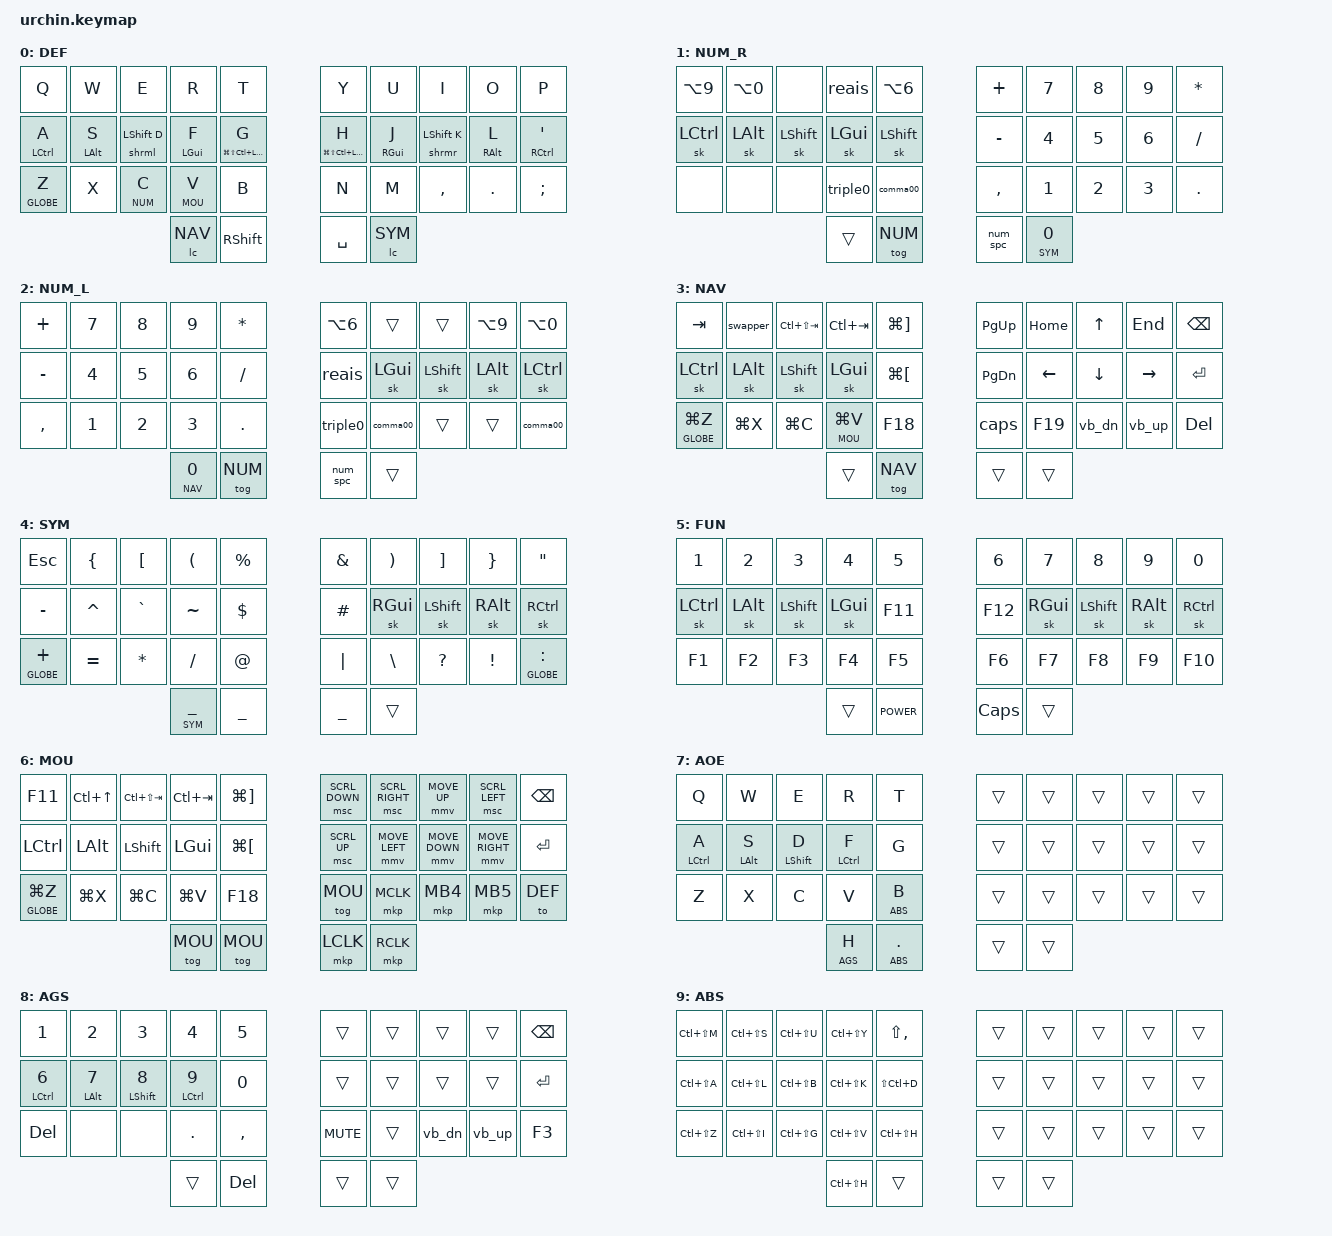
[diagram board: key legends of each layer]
#include <behaviors.dtsi>
#include <dt-bindings/zmk/bt.h>
#include <dt-bindings/zmk/keys.h>
#include <dt-bindings/zmk/outputs.h>

// Layer and key defines to improve readability on the keymap
#define DEF  0
#define NUM  1
#define NUM_L 2 // experimenting with numpad on left hand for mouse usage on the right
#define NAV  3
#define SYM  4
#define FUN  5
#define MOU  6 // also great for one-handed use with a mouse on the right hand

// AOE layers
#define AOE 7 // AOE 2 layers with easier access for default shortcuts on main layer
#define AGS 8
#define ABS 9

#define HYPR LG(LS(LC(LALT))) // shorthand for HYPER key hold-tap on G and H keys

// These includes allow for easier maintenance and readability between different keymaps
#include "features/sweep_keypos.h"                  // Key positions naming scheme for 34 keys keymaps (useful to make combos and behaviors code interoperable between different keyboards)

// Features and customizations (all these .dtsi files are shared with Totem repo)
#include "features/timings.h"                       // Timing definitions for hold-taps and combos
#include "features/core_behaviors_overrides.dtsi"   // Overriding defaults from core behaviors
#include "features/mouse.dtsi"                      // Requires layer defines above since it uses NAV as input processor
#include "features/num_word.dtsi"                   // Custom behaviors like swapper and desktop quit

/ {
    combos { 
        #include "features/combos.dtsi"             // Using a separate file for repurposing it to other keyboards
    };
    
    behaviors { 
        #include "features/custom_behaviors.dtsi"   // Custom behaviors for hold-taps, swapper and other gimmickry
    };

    macros { 
        #include "features/layer_cancel_macros.dtsi" // Inserts a K_CANCEL tap to disengage queued mods from layers 
        #include "features/typing_macros.dtsi"       // Typing macros for common words and phrases
    };

    conditional_layers {
        compatible = "zmk,conditional-layers";
        
        tri_layer_for_function_and_number_row_keys {  // Tri-layer allows to make these keys unsensible to the order of layer key release, so I can trigger NUM from NAV and, on relase of NAV, get to SYM
            if-layers = <NAV SYM>;
            then-layer = <FUN>;
        };

    };

    keymap {
        compatible = "zmk,keymap";

        DEF {
            bindings = <
  &kp Q          &kp W          &kp E         &kp R         &kp T           &kp Y           &kp U          &kp I           &kp O           &kp P
  &hrml LCTRL A  &hrml LALT S   &shrml LSHFT D &hrml LGUI F &hrml HYPR G    &hrmr HYPR H    &hrmr RGUI J   &shrmr LSHFT K  &hrmr RALT L    &hrmr RCTRL SQT
  &hrml GLOBE Z  &kp X          &ltl NUM C    &ltl MOU V    &kp B           &kp N           &kp M          &kp COMMA       &kp DOT         &kp SEMI
                                              &lc NAV       &kp RSHFT       &kp SPC         &lc SYM
            >;
        };

        NUM_R {
            bindings = <
  &kp LA(N9) &kp LA(N0) &none       &reais      &kp LA(N6)  &kp PLUS    &kp N7  &kp N8  &kp N9  &kp ASTRK
  &sk LCTRL  &sk LALT   &sk LSHFT   &sk LGUI    &sk LSHFT   &kp MINUS   &kp N4  &kp N5  &kp N6  &kp SLASH
  &none      &none      &none       &triple0    &comma00    &kp COMMA   &kp N1  &kp N2  &kp N3  &kp DOT
                                    &trans      &tog NUM    &num_spc    &lt SYM N0
            >;
        };

        NUM_L {
            bindings = <
  &kp PLUS    &kp N7  &kp N8  &kp N9        &kp ASTRK   &kp LA(N6) &trans   &trans      &kp LA(N9)  &kp LA(N0) 
  &kp MINUS   &kp N4  &kp N5  &kp N6        &kp SLASH   &reais     &sk LGUI &sk LSHFT   &sk LALT    &sk LCTRL  
  &kp COMMA   &kp N1  &kp N2  &kp N3        &kp DOT     &triple0   &comma00 &trans      &trans      &comma00    
                              &lt NAV N0    &tog NUM    &num_spc   &trans
            >;
        };

        NAV {
            bindings = <
  &kp TAB         &swapper  &kp LC(LS(TAB)) &kp LC(TAB)     &kp LG(RBKT)    &kp PG_UP   &kp HOME  &kp UP    &kp END   &kp BSPC
  &sk LCTRL       &sk LALT  &sk LSHFT       &sk LGUI        &kp LG(LBKT)    &kp PG_DN   &kp LEFT  &kp DOWN  &kp RIGHT &kp RET
  &mt GLOBE LG(Z) &kp LG(X) &kp LG(C)       &lt MOU LG(V)   &kp F18         &caps       &kp F19   &vb_dn    &vb_up    &kp DEL 
                                            &trans          &tog NAV        &trans      &trans 
            >; // F18 and F19 are here for triggering macros and shortcuts on macOS without interfering with normal usage on other keys
        };

        SYM {
            bindings = <
  &kp ESC           &kp LBRC   &kp LBKT   &kp LPAR       &kp PRCNT    &kp AMPS  &kp RPAR  &kp RBKT   &kp RBRC  &kp DQT
  &kp MINUS         &kp CARET  &kp GRAVE  &kp TILDE      &kp DOLLAR   &kp HASH  &sk RGUI  &sk LSHFT  &sk RALT  &sk RCTRL
  &mt GLOBE PLUS    &kp EQUAL  &kp ASTRK  &kp FSLH       &kp AT       &kp PIPE  &kp BSLH  &kp QMARK  &kp EXCL  &mt GLOBE COLON
                                          &lts SYM UNDER &kp UNDER    &kp UNDER &trans
            >;
        };

        FUN {
            bindings = <
  &kp N1    &kp N2    &kp N3     &kp N4    &kp N5       &kp N6    &kp N7    &kp N8     &kp N9    &kp N0
  &sk LCTRL &sk LALT  &sk LSHFT  &sk LGUI  &kp F11      &kp F12   &sk RGUI  &sk LSHFT  &sk RALT  &sk RCTRL
  &kp F1    &kp F2    &kp F3     &kp F4    &kp F5       &kp F6    &kp F7    &kp F8     &kp F9    &kp F10
                                 &trans    &kp C_POWER  &kp CAPS  &trans
            >;
        };

        MOU {
            bindings = <
  &kp F11         &kp LC(UP) &kp LC(LS(TAB)) &kp LC(TAB)   &kp LG(RBKT)  &msc SCRL_DOWN  &msc SCRL_RIGHT &mmv MOVE_UP    &msc SCRL_LEFT  &kp BSPC
  &kp LCTRL       &kp LALT   &kp LSHFT       &kp LGUI      &kp LG(LBKT)  &msc SCRL_UP    &mmv MOVE_LEFT  &mmv MOVE_DOWN  &mmv MOVE_RIGHT &kp ENTER
  &mt GLOBE LG(Z) &kp LG(X)  &kp LG(C)       &kp LG(V)     &kp F18       &tog MOU        &mkp MCLK       &mkp MB4        &mkp MB5        &to DEF
                                             &tog MOU      &tog MOU      &mkp LCLK       &mkp RCLK
            >;          
        };

        AOE {
            bindings = <
  &kp Q        &kp W      &kp E       &kp R        &kp T        &trans  &trans  &trans  &trans  &trans
  &mt LCTRL A  &mt LALT S &mt LSHFT D &mt LCTRL F  &kp G        &trans  &trans  &trans  &trans  &trans
  &kp Z        &kp X      &kp C       &kp V        &lt ABS B    &trans  &trans  &trans  &trans  &trans
                                      &lt AGS H    &lt ABS DOT  &trans  &trans
            >;
        };

        AGS {
            bindings = <
  &kp N1        &kp N2       &kp N3       &kp N4        &kp N5     &trans     &trans  &trans  &trans  &kp BSPC
  &mt LCTRL N6  &mt LALT N7  &mt LSHFT N8 &mt LCTRL N9  &kp N0     &trans     &trans  &trans  &trans  &kp ENTER
  &kp DEL       &none        &none        &kp DOT       &kp COMMA  &kp C_MUTE &trans  &vb_dn  &vb_up  &kp F3
                                          &trans        &kp DEL    &trans     &trans 
            >;
        };

        ABS {
            bindings = <
  &kp LC(LS(M))   &kp LC(LS(S))   &kp LC(LS(U))   &kp LC(LS(Y))   &kp LS(COMMA)    &trans  &trans  &trans  &trans  &trans
  &kp LC(LS(A))   &kp LC(LS(L))   &kp LC(LS(B))   &kp LC(LS(K))   &kp LS(LC(D))    &trans  &trans  &trans  &trans  &trans
  &kp LC(LS(Z))   &kp LC(LS(I))   &kp LC(LS(G))   &kp LC(LS(V))   &kp LC(LS(H))    &trans  &trans  &trans  &trans  &trans
                                                &kp LC(LS(H))   &trans           &trans  &trans
            >;
        };
    };
};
